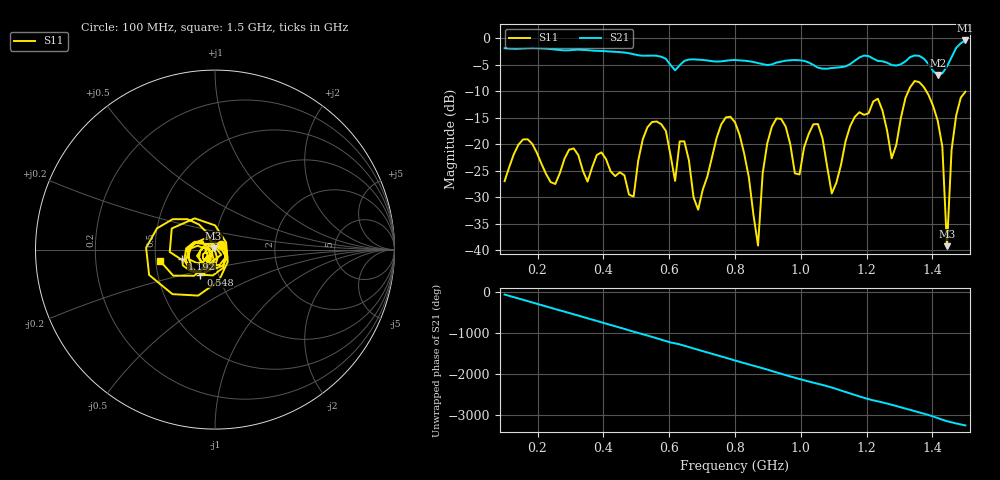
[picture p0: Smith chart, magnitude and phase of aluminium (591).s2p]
! NanoVNA-App
! Date: 2025-09-25 14:59:53
! Start: 100MHz Stop: 1,5GHz Points: 101
! S-Parameter data: F S11 S21 S12 S22
# Hz S RI R 50
!  Frequency  S11_Real  S11_Imag  S21_Real  S21_Imag  S12_Real  S12_Imag  S22_Real  S22_Imag
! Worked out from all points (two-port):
!   101 points, 100 MHz to 1.5 GHz, reference 50 ohm
!   highest |S21| = -0.46 dB at 1.5 GHz (marker M1); lowest = -7.0 dB at 1.416 GHz (marker M2)
!   |S21| within 3 dB of the highest: start of sweep to 570.8 MHz; 1.459 GHz to end of sweep (the widest 2 of 4)
!   lowest |S11| = -39.2 dB at 1.444 GHz (marker M3), VSWR 1.02, Z = 49.2 + j0.767 ohm
!   |S11| at or under -10 dB: start of sweep to 1.327 GHz; 1.381 GHz to end of sweep
!   S12 and S22 are empty: the file has one direction only
!   S11 on the Smith chart (normalised r, x): 100 MHz: 1.07, +0.06; 548 MHz: 0.82, -0.23; 1.192 GHz: 0.69, -0.08; 1.5 GHz: 0.53, -0.08
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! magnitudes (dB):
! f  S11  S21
! 100 MHz  -27.0  -1.9
! 156 MHz  -19.1  -2.0
! 338 MHz  -25.1  -2.2
! 492 MHz  -29.9  -3.1
! 548 MHz  -15.8  -3.3
! 576 MHz  -16.2  -3.5
! 688 MHz  -32.4  -4.1
! 800 MHz  -15.9  -4.1
! 870 MHz  -39.1  -4.7
! 912 MHz  -16.7  -5.0
! 996 MHz  -25.7  -4.2
! 1.038 GHz  -16.3  -5.1
! 1.094 GHz  -29.3  -5.6
! 1.192 GHz  -14.5  -3.3
! 1.234 GHz  -11.4  -4.3
! 1.276 GHz  -22.7  -5.1
! 1.346 GHz  -8.1  -3.3
! 1.416 GHz  -15.6  -7.0
! 1.43 GHz  -20.5  -6.6
! 1.444 GHz  -39.2  -5.4
! 1.458 GHz  -21.1  -3.6
! 1.5 GHz  -10.1  -0.5
